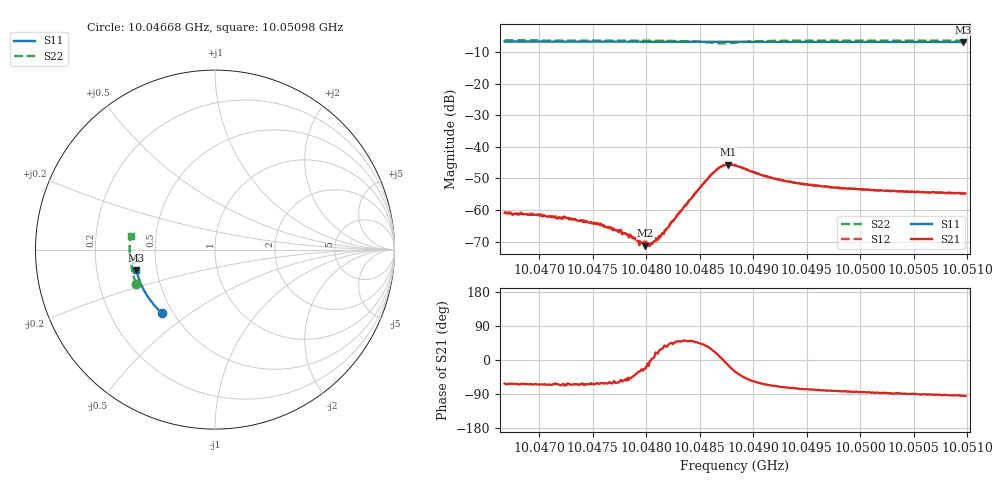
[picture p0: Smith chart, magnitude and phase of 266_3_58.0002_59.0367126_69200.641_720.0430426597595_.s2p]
#  HZ  S  RI  R  50.00
! Rohde & Schwarz Vector Network Analyzer
! Rohde-Schwarz,ZNB20-2Port,1311601062101988,3.16
! Created: UTC 3/21/2024, 1:02:11 AM
! freq[Hz]  re:S11  im:S11  re:S21  im:S21  re:S12  im:S12  re:S22  im:S22
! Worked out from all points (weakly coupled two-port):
!   401 points, 10.04668 GHz to 10.05098 GHz, reference 50 ohm
!   highest |S21| = -45.59 dB at 10.04877 GHz (marker M1); lowest = -71.3 dB at 10.04799 GHz (marker M2)
!   lowest |S11| = -6.9 dB at 10.05096 GHz (marker M3), VSWR 2.66, Z = 19.1 - j5.54 ohm
!   |S11| at or under -10 dB: nowhere
!   |S22| runs from -7.3 to -6.4 dB; largest |S21 - S12| = 0.00035
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1.0046678e10  -0.2955 -0.3535  0.000423 -0.0008  0.000494 -0.000823  -0.4393 -0.1921
1.0047249e10  -0.3226 -0.3274  0.000324 -0.00068  0.000362 -0.000671  -0.4525 -0.1555
1.0047399e10  -0.3295 -0.3201  0.000331 -0.000613  0.000357 -0.000598  -0.4552 -0.1454
1.0047572e10  -0.337 -0.3116  0.000273 -0.000505  0.000339 -0.000517  -0.4583 -0.1338
1.004769e10  -0.3421 -0.3057  0.000241 -0.000415  0.000304 -0.000413  -0.4602 -0.1254
1.0047841e10  -0.3485 -0.2979  0.000225 -0.000292  0.000281 -0.000288  -0.4623 -0.1144
1.0047894e10  -0.3506 -0.2952  0.000281 -0.000231  0.000273 -0.000208  -0.4629 -0.1104
1.0047948e10  -0.353 -0.2924  0.000273 -0.000147  0.000285 -0.000138  -0.4635 -0.1061
1.0047991e10  -0.3545 -0.2899  0.000252 -0.000108  0.000288 -7.75e-05  -0.4638 -0.1029
1.0048013e10  -0.3555 -0.2889  0.000296 -4.85e-05  0.000279 -3.73e-05  -0.464 -0.1009
1.0048056e10  -0.3573 -0.2866  0.000291 1.91e-05  0.000301 2.39e-05  -0.4644 -0.0978
1.0048088e10  -0.3585 -0.285  0.000335 0.000122  0.000292 7.98e-05  -0.4643 -0.095
1.004812e10  -0.3599 -0.2833  0.000355 0.000164  0.000333 0.000163  -0.4646 -0.0924
1.0048605e10  -0.3777 -0.2568  0.00311 0.00175  0.00299 0.00195  -0.44 -0.0498
1.0048691e10  -0.3805 -0.2522  0.00471 0.000654  0.00471 0.000962  -0.4267 -0.0567
1.0048766e10  -0.383 -0.2481  0.0051 -0.00126  0.0052 -0.000928  -0.426 -0.0711
1.0048831e10  -0.3853 -0.2446  0.00439 -0.00256  0.00458 -0.00229  -0.4352 -0.0786
1.0049175e10  -0.3967 -0.225  0.00123 -0.003  0.00143 -0.00292  -0.468 -0.0556
1.0049552e10  -0.4079 -0.2027  0.000508 -0.00241  0.000661 -0.00242  -0.4745 -0.0246
1.0050273e10  -0.4256 -0.1588  0.000106 -0.002  0.000177 -0.002  -0.4752 0.027
1.0050961e10  -0.4384 -0.1154  -0.00013 -0.00181  -3.19e-05 -0.00185  -0.4701 0.0733
1.0050983e10  -0.4388 -0.1142  -0.000155 -0.00183  -1.95e-05 -0.00183  -0.4699 0.0746
